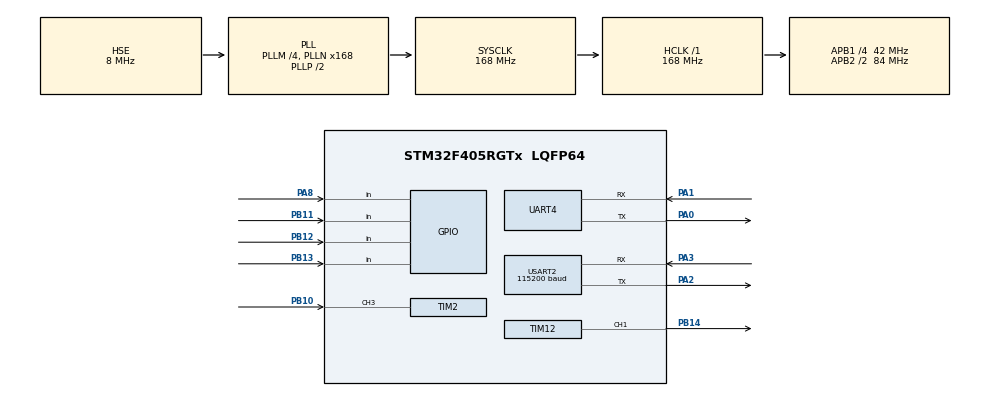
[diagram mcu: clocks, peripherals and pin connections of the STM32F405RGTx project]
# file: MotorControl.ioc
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Mcu.Family=STM32F4
Mcu.Name=STM32F405RGTx
Mcu.Package=LQFP64
NVIC.PriorityGroup=NVIC_PRIORITYGROUP_4
NVIC.TIM2_IRQn=true\:0\:0\:true\:false\:true
NVIC.TIM8_BRK_TIM12_IRQn=true\:2\:0\:true\:false\:true
NVIC.UART4_IRQn=true\:0\:0\:false\:false\:true
NVIC.USART2_IRQn=true\:1\:0\:true\:false\:true
PA0-WKUP.Mode=Asynchronous
PA0-WKUP.Signal=UART4_TX
PA1.Mode=Asynchronous
PA1.Signal=UART4_RX
PA13.Mode=Serial_Wire
PA13.Signal=SYS_JTMS-SWDIO
PA14.Mode=Serial_Wire
PA14.Signal=SYS_JTCK-SWCLK
PA2.Mode=Asynchronous
PA2.Signal=USART2_TX
PA3.Mode=Asynchronous
PA3.Signal=USART2_RX
PA8.GPIO_Mode=GPIO_MODE_INPUT
PA8.GPIO_PuPd=GPIO_NOPULL
PA8.Signal=GPIO_Input
PB10.Signal=S_TIM2_CH3
PB11.GPIO_Mode=GPIO_MODE_INPUT
PB11.GPIO_PuPd=GPIO_NOPULL
PB11.Signal=GPIO_Input
PB12.GPIO_Mode=GPIO_MODE_INPUT
PB12.GPIO_PuPd=GPIO_NOPULL
PB12.Signal=GPIO_Input
PB13.GPIO_Mode=GPIO_MODE_INPUT
PB13.GPIO_PuPd=GPIO_NOPULL
PB13.Signal=GPIO_Input
PB14.GPIO_ModeDefaultPP=GPIO_MODE_AF_PP
PB14.GPIO_PuPd=GPIO_NOPULL
PB14.GPIO_Speed=GPIO_SPEED_FREQ_VERY_HIGH
PB14.Signal=S_TIM12_CH1
PH0-OSC_IN.Mode=HSE-External-Oscillator
PH0-OSC_IN.Signal=RCC_OSC_IN
PH1-OSC_OUT.Mode=HSE-External-Oscillator
PH1-OSC_OUT.Signal=RCC_OSC_OUT
ProjectManager.HeapSize=0x200
ProjectManager.StackSize=0x400
ProjectManager.TargetToolchain=MDK-ARM V5
RCC.48MHZClocksFreq_Value=84000000
RCC.AHBFreq_Value=168000000
RCC.APB1CLKDivider=RCC_HCLK_DIV4
RCC.APB1Freq_Value=42000000
RCC.APB1TimFreq_Value=84000000
RCC.APB2CLKDivider=RCC_HCLK_DIV2
RCC.APB2Freq_Value=84000000
RCC.APB2TimFreq_Value=168000000
RCC.CortexFreq_Value=168000000
RCC.HCLKFreq_Value=168000000
RCC.HSE_VALUE=8000000
RCC.HSI_VALUE=16000000
RCC.LSE_VALUE=32768
RCC.PLLM=4
RCC.PLLN=168
RCC.PLLSourceVirtual=RCC_PLLSOURCE_HSE
RCC.SYSCLKFreq_VALUE=168000000
RCC.SYSCLKSource=RCC_SYSCLKSOURCE_PLLCLK
RCC.VCOOutputFreq_Value=336000000
SH.S_TIM12_CH1.0=TIM12_CH1,PWM Generation1 CH1
SH.S_TIM2_CH3.0=TIM2_CH3,Input_Capture3_from_TI3
TIM12.ClockDivision=TIM_CLOCKDIVISION_DIV1
TIM12.OCFastMode_PWM-PWM\ Generation1\ CH1=TIM_OCFAST_DISABLE
TIM12.OCPolarity_1=TIM_OCPOLARITY_LOW
TIM12.Period=8400
TIM12.Prescaler=1-1
TIM12.Pulse-PWM\ Generation1\ CH1=8400
TIM2.Channel-Input_Capture3_from_TI3=TIM_CHANNEL_3
TIM2.ICFilter_CH3=15
TIM2.Period=4294967295
TIM2.Prescaler=1-1
USART2.BaudRate=115200
USART2.Mode=MODE_RX
USART2.OverSampling=UART_OVERSAMPLING_16
VP_TIM2_VS_ClockSourceINT.Mode=Internal
board=MotorControl

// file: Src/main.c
/**
  ******************************************************************************
  * File Name          : main.c
  * Description        : Main program body
  ******************************************************************************
  *
  * COPYRIGHT(c) 2017 STMicroelectronics
  *
  * Redistribution and use in source and binary forms, with or without modification,
  * are permitted provided that the following conditions are met:
  *   1. Redistributions of source code must retain the above copyright notice,
  *      this list of conditions and the following disclaimer.
  *   2. Redistributions in binary form must reproduce the above copyright notice,
  *      this list of conditions and the following disclaimer in the documentation
  *      and/or other materials provided with the distribution.
  *   3. Neither the name of STMicroelectronics nor the names of its contributors
  *      may be used to endorse or promote products derived from this software
  *      without specific prior written permission.
  *
  * THIS SOFTWARE IS PROVIDED BY THE COPYRIGHT HOLDERS AND CONTRIBUTORS "AS IS"
  * AND ANY EXPRESS OR IMPLIED WARRANTIES, INCLUDING, BUT NOT LIMITED TO, THE
  * IMPLIED WARRANTIES OF MERCHANTABILITY AND FITNESS FOR A PARTICULAR PURPOSE ARE
  * DISCLAIMED. IN NO EVENT SHALL THE COPYRIGHT HOLDER OR CONTRIBUTORS BE LIABLE
  * FOR ANY DIRECT, INDIRECT, INCIDENTAL, SPECIAL, EXEMPLARY, OR CONSEQUENTIAL
  * DAMAGES (INCLUDING, BUT NOT LIMITED TO, PROCUREMENT OF SUBSTITUTE GOODS OR
  * SERVICES; LOSS OF USE, DATA, OR PROFITS; OR BUSINESS INTERRUPTION) HOWEVER
  * CAUSED AND ON ANY THEORY OF LIABILITY, WHETHER IN CONTRACT, STRICT LIABILITY,
  * OR TORT (INCLUDING NEGLIGENCE OR OTHERWISE) ARISING IN ANY WAY OUT OF THE USE
  * OF THIS SOFTWARE, EVEN IF ADVISED OF THE POSSIBILITY OF SUCH DAMAGE.
  *
  ******************************************************************************
  */
#include "main.h"
#include "stm32f4xx_hal.h"
#include "tim.h"
#include "usart.h"
#include "gpio.h"
#include "app.h"
/* USER CODE BEGIN Includes */
#include "pi.h"
#include "math.h"
/* USER CODE END Includes */

/* USER CODE BEGIN PV */
/* Private variables ---------------------------------------------------------*/

/* USER CODE END PV */

void SystemClock_Config(void);
void Error_Handler(void);

/* USER CODE BEGIN PFP */
/* Private function prototypes -----------------------------------------------*/

/* USER CODE END PFP */

/* USER CODE BEGIN 0 */
uint16_t pwm_value=0;
void user_pwm_setvalue(uint16_t value);

uint8_t RxBuffer[10];
uint8_t Rx422_Buffer[10];

PI_CONTROLLER pi_spd = PI_CONTROLLER_DEFAULTS;

/* USER CODE END 0 */

int main(void)
{

  /* MCU Configuration----------------------------------------------------------*/

  /* Reset of all peripherals, Initializes the Flash interface and the Systick. */
  HAL_Init();

  /* Configure the system clock */
  SystemClock_Config();

  /* Initialize all configured peripherals */
  MX_GPIO_Init();
  MX_TIM12_Init();
  MX_USART2_UART_Init();
  MX_UART4_Init();
  MX_TIM2_Init();

  /* USER CODE BEGIN 2 */
//  HAL_TIM_PWM_Start_IT(&htim12, TIM_CHANNEL_1);
	HAL_TIM_IC_Start_IT(&htim2, TIM_CHANNEL_3);
	HAL_UART_Transmit_IT(&huart4, (uint8_t *)Rx422_Buffer, sizeof(Rx422_Buffer));
	HAL_UART_Receive_IT(&huart4, (uint8_t *)Rx422_Buffer, 10);
	HAL_UART_Receive_IT(&huart2, (uint8_t *)RxBuffer, 10);
	printf("start");
	//HAL_UART_Receive_IT(&UartHandle, (uint8_t *)aRxBuffer, RXBUFFERSIZE)

// Initialize the PI module for spd
  pi_spd.Kp= 2.8f;
	pi_spd.Ki= 0.004f;
	pi_spd.Umax = 1.0f;
	pi_spd.Umin = 0.0f;

  /* USER CODE END 2 */

  /* Infinite loop */
  while (1)
  {

  /* USER CODE BEGIN 3 */
		//printf("start");

    HAL_Delay(200);

  }
  /* USER CODE END 3 */

}

/** System Clock Configuration
*/
void SystemClock_Config(void)
{

  RCC_OscInitTypeDef RCC_OscInitStruct;
  RCC_ClkInitTypeDef RCC_ClkInitStruct;

    /**Configure the main internal regulator output voltage
    */
  __HAL_RCC_PWR_CLK_ENABLE();

  __HAL_PWR_VOLTAGESCALING_CONFIG(PWR_REGULATOR_VOLTAGE_SCALE1);

    /**Initializes the CPU, AHB and APB busses clocks
    */
  RCC_OscInitStruct.OscillatorType = RCC_OSCILLATORTYPE_HSE;
  RCC_OscInitStruct.HSEState = RCC_HSE_ON;
  RCC_OscInitStruct.PLL.PLLState = RCC_PLL_ON;
  RCC_OscInitStruct.PLL.PLLSource = RCC_PLLSOURCE_HSE;
  RCC_OscInitStruct.PLL.PLLM = 4;
  RCC_OscInitStruct.PLL.PLLN = 168;
  RCC_OscInitStruct.PLL.PLLP = RCC_PLLP_DIV2;
  RCC_OscInitStruct.PLL.PLLQ = 4;
  if (HAL_RCC_OscConfig(&RCC_OscInitStruct) != HAL_OK)
  {
    Error_Handler();
  }

    /**Initializes the CPU, AHB and APB busses clocks
    */
  RCC_ClkInitStruct.ClockType = RCC_CLOCKTYPE_HCLK|RCC_CLOCKTYPE_SYSCLK
                              |RCC_CLOCKTYPE_PCLK1|RCC_CLOCKTYPE_PCLK2;
  RCC_ClkInitStruct.SYSCLKSource = RCC_SYSCLKSOURCE_PLLCLK;
  RCC_ClkInitStruct.AHBCLKDivider = RCC_SYSCLK_DIV1;
  RCC_ClkInitStruct.APB1CLKDivider = RCC_HCLK_DIV4;
  RCC_ClkInitStruct.APB2CLKDivider = RCC_HCLK_DIV2;

  if (HAL_RCC_ClockConfig(&RCC_ClkInitStruct, FLASH_LATENCY_5) != HAL_OK)
  {
    Error_Handler();
  }

    /**Configure the Systick interrupt time
    */
  HAL_SYSTICK_Config(HAL_RCC_GetHCLKFreq()/1000);

    /**Configure the Systick
    */
  HAL_SYSTICK_CLKSourceConfig(SYSTICK_CLKSOURCE_HCLK);

  /* SysTick_IRQn interrupt configuration */
  HAL_NVIC_SetPriority(SysTick_IRQn, 0, 0);
}

/* USER CODE BEGIN 4 */
void user_pwm_setvalue(uint16_t value)
{
    TIM_OC_InitTypeDef sConfigOC;
    sConfigOC.OCMode = TIM_OCMODE_PWM1;
    sConfigOC.Pulse = value;
    sConfigOC.OCPolarity = TIM_OCPOLARITY_LOW;
    sConfigOC.OCFastMode = TIM_OCFAST_DISABLE;
    HAL_TIM_PWM_ConfigChannel(&htim12, &sConfigOC, TIM_CHANNEL_1);
    HAL_TIM_PWM_Start(&htim12, TIM_CHANNEL_1);
}

typedef union Rx_Dat
{
	uint16_t AD[4];
	uint8_t y[8];
}Rx_Dat;

__IO uint16_t My_AD[4];
void HAL_UART_RxCpltCallback(UART_HandleTypeDef *huart)
{
	if(huart->Instance == USART2)
	{
		Rx_Dat My_Rx_Dat;
		if((RxBuffer[0]==0xAA) && ((RxBuffer[1]==0x55)))
		{
			My_Rx_Dat.y[0] = RxBuffer[2];
			My_Rx_Dat.y[1] = RxBuffer[3];
			My_Rx_Dat.y[2] = RxBuffer[4];
			My_Rx_Dat.y[3] = RxBuffer[5];
			My_Rx_Dat.y[4] = RxBuffer[6];
			My_Rx_Dat.y[5] = RxBuffer[7];
			My_Rx_Dat.y[6] = RxBuffer[8];
			My_Rx_Dat.y[7] = RxBuffer[9];
//		Speed = My_Rx_Dat.x;
			My_AD[0] = My_Rx_Dat.AD[0];
			My_AD[1] = My_Rx_Dat.AD[1];
			My_AD[2] = My_Rx_Dat.AD[2];
			My_AD[3] = My_Rx_Dat.AD[3];
			timer3DataProcess();
		}
		else
		{
			HAL_Delay(10);
		}
	}
	if(huart->Instance == UART4)
	{
		printf("%s",Rx422_Buffer);

	}
	HAL_UART_Receive_IT(&huart4, (uint8_t *)Rx422_Buffer, 10);
	HAL_UART_Receive_IT(&huart2, (uint8_t *)RxBuffer, 10);
}

void HAL_UART_ErrorCallback(UART_HandleTypeDef *huart)
{
	HAL_UART_Receive_IT(&huart4, (uint8_t *)Rx422_Buffer, 10);
	HAL_UART_Receive_IT(&huart2, (uint8_t *)RxBuffer, 10);
}

#define Time_Interval 1
/* Captured Values */
uint32_t               uwIC2Value1 = 0;
uint32_t               uwIC2Value2 = 0;
uint32_t               uwDiffCapture = 0;
/* Capture index */
uint16_t               uhCaptureIndex = 0;
/* Frequency Value */
__IO float               	 uwFrequency = 0;

void HAL_TIM_IC_CaptureCallback(TIM_HandleTypeDef *htim)
{
  if (htim->Channel == HAL_TIM_ACTIVE_CHANNEL_3)
	{
    if(uhCaptureIndex == 0)
    {
      /* Get the 1st Input Capture value */
      uwIC2Value1 = HAL_TIM_ReadCapturedValue(htim, TIM_CHANNEL_3);
      uhCaptureIndex = 1;
		}
    else if(uhCaptureIndex == 1)
    {
      /* Get the 2nd Input Capture value */
      uwIC2Value2 = HAL_TIM_ReadCapturedValue(htim, TIM_CHANNEL_3);

      /* Capture computation */
      if (uwIC2Value2 > uwIC2Value1)
      {
        uwDiffCapture = (uwIC2Value2 - uwIC2Value1);
      }
      else if (uwIC2Value2 < uwIC2Value1)
      {
        uwDiffCapture = ((0xffffffff - uwIC2Value1) + uwIC2Value2) + 1;
      }
      else
      {
        /* If capture values are equal, we have reached the limit of frequency
           measures */
        Error_Handler();
      }
      /* Frequency computation: for this example TIMx (TIM1) is clocked by
         APB1Clk */
			uwFrequency = (84000000.0/uwDiffCapture);
      uhCaptureIndex = 0;
			uwFrequency = _IQsat(uwFrequency, 500, 0);
		}
  }
}

#define DEBUG
uint16_t time=4200;
uint16_t Flag=2;
uint16_t num=0;
uint16_t Is_Control = 0;
float Fre_Set=500;
void HAL_TIM_OC_DelayElapsedCallback(TIM_HandleTypeDef *htim)
{
	#ifdef DEBUG
		if((Flag == 1) && (num > 0))
		{
			num--;
			if (num == 0)
				Flag = 0;
			user_pwm_setvalue(time);
		}
		else if (Flag == 2)
		{
			user_pwm_setvalue(time);
		}
		else
			user_pwm_setvalue(0);
	#else
	if(Is_Control == 1)
	{
		pi_spd.Ref = Fre_Set/500.0f;			//between 500Hz
		pi_spd.Fbk = uwFrequency/500.0f;
		PI_MACRO(pi_spd)
		pwm_value = (uint16_t)(pi_spd.Out*s);
		user_pwm_setvalue(pwm_value);
	}
	else
		user_pwm_setvalue(0);
	#endif
}

/* USER CODE END 4 */

void Error_Handler(void)
{
  while(1)
  {
  }
}

/************************ (C) COPYRIGHT STMicroelectronics *****END OF FILE****/
